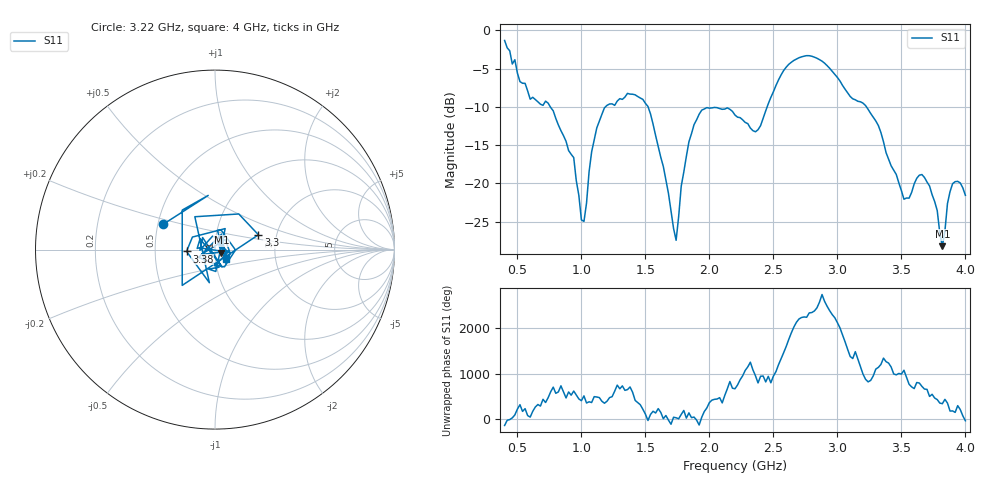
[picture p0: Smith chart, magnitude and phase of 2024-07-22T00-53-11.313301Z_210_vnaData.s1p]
!Created with skrf (http://scikit-rf.org).
# Hz S RI R 50.0
!freq ReS11 ImS11
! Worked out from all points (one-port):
!   181 points, 400 MHz to 4 GHz, reference 50 ohm
!   lowest |S11| = -28.2 dB at 3.82 GHz (marker M1), VSWR 1.08, Z = 53.6 - j1.74 ohm
!   |S11| at or under -10 dB: 756.9 MHz to 1.188 GHz (431.5 MHz wide, 44.4 % of centre); 1.521 GHz to 2.451 GHz (930.4 MHz wide, 46.8 % of centre); 3.227 GHz to end of sweep
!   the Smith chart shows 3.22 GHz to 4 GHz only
!   S11 on the Smith chart (normalised r, x): 3.22 GHz: 0.53, +0.17; 3.3 GHz: 1.61, +0.28; 3.38 GHz: 0.73, -0.01; 4 GHz: 1.13, -0.12
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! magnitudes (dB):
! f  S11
! 400 MHz  -1.3
! 600 MHz  -9.0
! 740 MHz  -9.5
! 860 MHz  -13.8
! 940 MHz  -16.6
! 1 GHz  -24.8
! 1.02 GHz  -25.0
! 1.12 GHz  -12.8
! 1.3 GHz  -8.9
! 1.52 GHz  -10.0
! 1.74 GHz  -27.4
! 1.76 GHz  -24.3
! 1.84 GHz  -14.6
! 1.92 GHz  -11.0
! 2.2 GHz  -11.1
! 2.38 GHz  -13.0
! 2.66 GHz  -3.9
! 2.88 GHz  -4.0
! 3.1 GHz  -8.6
! 3.22 GHz  -9.8
! 3.3 GHz  -11.8
! 3.38 GHz  -16.0
! 3.56 GHz  -21.9
! 3.68 GHz  -19.2
! 3.78 GHz  -23.6
! 3.82 GHz  -28.2
! 3.9 GHz  -20.0
! 4 GHz  -21.6
